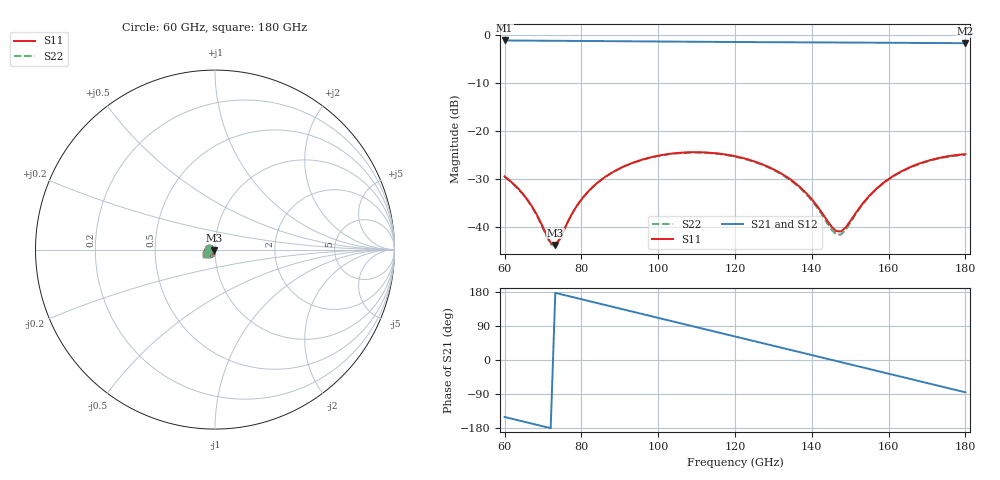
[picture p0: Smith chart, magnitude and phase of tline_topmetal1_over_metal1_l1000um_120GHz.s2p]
#  GHZ S DB R 50
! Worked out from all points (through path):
!   101 points, 60 GHz to 180 GHz, reference 50 ohm
!   highest |S21| = -1.14 dB at 60 GHz (marker M1); lowest = -1.7 dB at 180 GHz (marker M2)
!   group delay of S21, straight-line fit = 6.82 ps
!   lowest |S11| = -43.8 dB at 73.2 GHz (marker M3), VSWR 1.01, Z = 49.5 - j0.432 ohm
!   |S11| at or under -10 dB: start of sweep to end of sweep
!   |S22| runs from -44.0 to -24.5 dB; largest |S21 - S12| = 1.5e-13
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60  -29.49 171.8  -1.14 -150.4  -1.14 -150.4  -29.56 171.3
66  -34.40 163.9  -1.18 -165.1  -1.18 -165.1  -34.51 163.2
68.4  -37.48 166.3  -1.19 -171.0  -1.19 -171.0  -37.63 165.6
72  -43.33 -161.7  -1.21 -179.9  -1.21 -179.9  -43.62 -161.8
73.2  -43.77 -137.7  -1.22 177.1  -1.22 177.1  -44.03 -137.0
78  -36.65 -93.9  -1.24 165.3  -1.24 165.3  -36.70 -93.7
80.4  -33.88 -92.9  -1.25 159.4  -1.25 159.4  -33.92 -92.8
84  -30.93 -96.8  -1.27 150.5  -1.27 150.5  -30.98 -97.0
88.8  -28.31 -105.7  -1.30 138.7  -1.30 138.7  -28.36 -106.0
100.8  -25.05 -132.6  -1.36 109.2  -1.36 109.2  -25.11 -133.2
110.4  -24.44 -154.9  -1.42 85.6  -1.42 85.6  -24.52 -155.8
120  -25.27 -176.7  -1.47 62.1  -1.47 62.1  -25.37 -177.8
132  -28.86 159.6  -1.52 32.6  -1.52 32.6  -29.00 158.0
136.8  -31.63 153.7  -1.53 20.9  -1.53 20.9  -31.82 151.7
140.4  -34.64 153.9  -1.55 12.0  -1.55 12.0  -34.91 151.6
145.2  -40.01 176.5  -1.56 0.2  -1.56 0.2  -40.64 174.7
146.4  -40.90 -169.4  -1.57 -2.7  -1.57 -2.7  -41.61 -170.0
147.6  -40.95 -153.3  -1.57 -5.7  -1.57 -5.7  -41.60 -152.5
154.8  -33.67 -114.1  -1.60 -23.4  -1.60 -23.4  -33.80 -113.6
160.8  -29.61 -118.3  -1.63 -38.1  -1.63 -38.1  -29.70 -118.7
170.4  -26.19 -135.2  -1.67 -61.7  -1.67 -61.7  -26.29 -136.3
180  -24.85 -155.0  -1.71 -85.2  -1.71 -85.2  -24.97 -156.6
